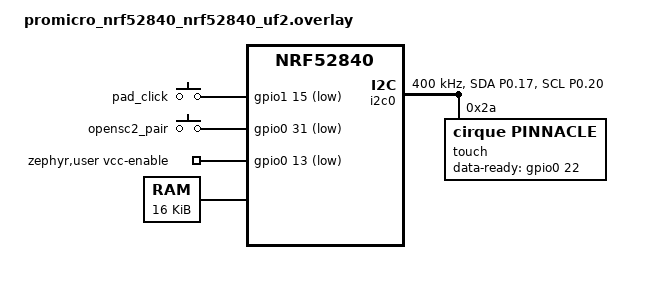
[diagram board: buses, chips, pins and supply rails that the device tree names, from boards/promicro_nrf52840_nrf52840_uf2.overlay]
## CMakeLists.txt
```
# Copyright (c) 2026 the OpenSC2-Controller authors
# SPDX-License-Identifier: MIT
cmake_minimum_required(VERSION 3.20.0)

# The OpenSC2 library is a Zephyr module: the OpenSC2-Controller repository. Inside the repository
# it is found here. In a copy of this folder elsewhere, set ZEPHYR_EXTRA_MODULES to your
# OpenSC2-Controller folder (environment variable, or -DZEPHYR_EXTRA_MODULES=<folder>), or list the
# repository in your west manifest (docs/integration.md).
if(EXISTS ${CMAKE_CURRENT_LIST_DIR}/../../zephyr/module.yml AND
   EXISTS ${CMAKE_CURRENT_LIST_DIR}/../../include/opensc2/opensc2.h)
  list(APPEND ZEPHYR_EXTRA_MODULES ${CMAKE_CURRENT_LIST_DIR}/../..)
endif()

find_package(Zephyr REQUIRED HINTS $ENV{ZEPHYR_BASE})
project(opensc2_touchpad LANGUAGES C)

target_sources(app PRIVATE src/main.c)
```

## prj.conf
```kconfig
# Copyright (c) 2026 the OpenSC2-Controller authors
# SPDX-License-Identifier: MIT
#
# A Cirque Pinnacle trackpad module as the right trackpad, wired or wireless.
# The SuperMini's own lines (its clock) are in boards/promicro_nrf52840_nrf52840_uf2.conf.

# The library. The puck sends packets of up to 128 bytes; the real controller keeps two replies
# queued.
CONFIG_OPENSC2=y
CONFIG_ESB_MAX_PAYLOAD_LENGTH=128
CONFIG_ESB_TX_FIFO_SIZE=2

# The touch module on I2C (Zephyr's cirque,pinnacle input driver) and the buttons (gpio-keys).
CONFIG_GPIO=y
CONFIG_I2C=y
CONFIG_INPUT=y

# Wired mode (the overlay chooses the HID node). The library runs the USB device, so the board's
# own serial port does not start at boot; in wireless mode the library shows it as the console.
# Eight report buffers, and room on the stacks for the vendor commands that write flash.
CONFIG_CDC_ACM_SERIAL_INITIALIZE_AT_BOOT=n
CONFIG_USBD_HID_IN_BUF_COUNT=8
CONFIG_USBD_THREAD_STACK_SIZE=2048
CONFIG_SYSTEM_WORKQUEUE_STACK_SIZE=2048

# Bonds survive a reboot in Zephyr settings, on NVS in the board's storage partition. Steam's
# pairing over the cable stores the bond and then reboots the board: without these it is lost.
CONFIG_FLASH=y
CONFIG_FLASH_MAP=y
CONFIG_NVS=y
CONFIG_SETTINGS=y
CONFIG_SETTINGS_NVS=y

# Log and shell on the USB serial port in wireless mode ("opensc2 status", "opensc2 state"). The
# shell prints the log, so the plain UART log output is off (it would print every line twice).
# While wired the log goes into the USB session log, and the log thread needs a bigger stack.
CONFIG_LOG=y
CONFIG_LOG_PROCESS_THREAD_STACK_SIZE=1536
CONFIG_SHELL=y
CONFIG_LOG_BACKEND_UART=n
CONFIG_SHELL_PROMPT_UART="opensc2:~$ "
CONFIG_MAIN_STACK_SIZE=2048
```

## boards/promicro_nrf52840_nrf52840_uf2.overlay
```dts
/*
 * Copyright (c) 2026 the OpenSC2-Controller authors
 * SPDX-License-Identifier: MIT
 *
 * SuperMini / Pro Micro nRF52840 with a Cirque Pinnacle trackpad module (for example the TM040040
 * or TM035035, on its I2C interface) as the controller's right trackpad. Zephyr's own
 * cirque,pinnacle driver reads it.
 *
 *   P0.17 SDA    P0.20 SCL    P0.22 the module's data-ready (HW_DR) output    VCC, GND
 *   P1.15 pad click button (to GND)    P0.31 pairing button (to GND)
 *
 * Any other touch device of Zephyr's input subsystem works the same way: point the `touch` label
 * at it and set its coordinate range in zephyr,user.
 */
#include <zephyr/dt-bindings/i2c/i2c.h>
#include <dt-bindings/opensc2/inputs.h>

/ {
	/* zephyr,code is the bit of the Steam Controller 2 button word (dt-bindings/opensc2/inputs.h);
	 * OPENSC2_KEY_PAIR marks the pairing button. */
	opensc2_buttons: opensc2_buttons {
		compatible = "gpio-keys";
		debounce-interval-ms = <5>;
		pad_click {
			gpios = <&gpio1 15 (GPIO_PULL_UP | GPIO_ACTIVE_LOW)>;
			zephyr,code = <OPENSC2_KEY_RIGHT_PAD_CLICK>;
		};
		/* Held while plugging in: this boot is wireless. Pressed and released while wired:
		 * back to wireless mode. Pressed while wireless: answers an open pairing window. */
		opensc2_pair: pair {
			gpios = <&gpio0 31 (GPIO_PULL_UP | GPIO_ACTIVE_LOW)>;
			zephyr,code = <OPENSC2_KEY_PAIR>;
		};
	};

	zephyr,user {
		/* The coordinate range the touch device reports (the Pinnacle is scaled to this). */
		trackpad-size = <1024 1024>;
		/* nice!nano-style boards switch VCC with P0.13 (low = on); check yours. */
		vcc-enable-gpios = <&gpio0 13 GPIO_ACTIVE_LOW>;
	};

	/* Wired mode: the USB HID function of the wired Steam Controller 2 (64-byte reports, 1 ms),
	 * and 16 KB of RAM that a soft reset keeps (the warm-restart mark, the USB session log), clear
	 * of the RAM the UF2 bootloader uses at every reset (docs/porting.md). */
	chosen {
		opensc2,usb-hid = &opensc2_hid;
		opensc2,retained-ram = &opensc2_retained;
	};

	opensc2_hid: opensc2_hid {
		compatible = "zephyr,hid-device";
		in-report-size = <64>;
		in-polling-period-us = <1000>;
		out-report-size = <64>;
		out-polling-period-us = <1000>;
	};

	opensc2_retained: memory@2002c000 {
		compatible = "zephyr,memory-region", "mmio-sram";
		reg = <0x2002c000 DT_SIZE_K(16)>;
		zephyr,memory-region = "OPENSC2_RETAINED";
	};
};

/* The application's RAM ends below the retained area (176 KB of the 256). */
&sram0 {
	reg = <0x20000000 DT_SIZE_K(176)>;
};

/* The board's first I2C bus, moved to P0.17 and P0.20. */
&pinctrl {
	i2c0_touch_default: i2c0_touch_default {
		group1 {
			psels = <NRF_PSEL(TWIM_SDA, 0, 17)>, <NRF_PSEL(TWIM_SCL, 0, 20)>;
		};
	};
	i2c0_touch_sleep: i2c0_touch_sleep {
		group1 {
			psels = <NRF_PSEL(TWIM_SDA, 0, 17)>, <NRF_PSEL(TWIM_SCL, 0, 20)>;
			low-power-enable;
		};
	};
};

&i2c0 {
	status = "okay";
	clock-frequency = <I2C_BITRATE_FAST>;
	pinctrl-0 = <&i2c0_touch_default>;
	pinctrl-1 = <&i2c0_touch_sleep>;
	pinctrl-names = "default", "sleep";

	touch: trackpad@2a {
		compatible = "cirque,pinnacle";
		reg = <0x2a>;
		/* HW_DR goes high when a new sample is ready; the driver reads on that edge. */
		data-ready-gpios = <&gpio0 22 GPIO_ACTIVE_HIGH>;
		data-mode = "absolute";
		/* One empty packet after the finger lifts, so the pad sees the release. */
		idle-packets-count = <1>;
		clipping-enable;
		scaling-enable;
		scaling-x-resolution = <1024>;
		scaling-y-resolution = <1024>;
	};
};

/* Not used here: the board's UART and its second I2C bus. The log and the shell are on the USB
 * serial port. */
&uart0 { status = "disabled"; };
&i2c1 { status = "disabled"; };
```

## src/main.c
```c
/*
 * Copyright (c) 2026 the OpenSC2-Controller authors
 * SPDX-License-Identifier: MIT
 *
 * A touch module as the right trackpad, wired or wireless. The touch device reports absolute X and
 * Y and either a touch key or a touch strength (Z) through Zephyr's input subsystem; on each
 * complete report the position is scaled to -32767..32767 (Y flipped: up is positive on the
 * controller) and handed to the library. A separate button is the pad's click. In Steam the right
 * pad then works as a trackpad: mouse, camera, or whatever its configuration says.
 * There is no power_request callback: the library does the reboots Steam asks for itself, and it
 * ignores Steam's request to enter a bootloader for a firmware update.
 */
#include <zephyr/kernel.h>
#include <zephyr/init.h>
#include <zephyr/drivers/gpio.h>
#include <zephyr/input/input.h>
#include <zephyr/logging/log.h>
#include <opensc2/opensc2.h>
#include <opensc2/trackpad.h>

LOG_MODULE_REGISTER(touchpad, LOG_LEVEL_INF);

#define USER DT_PATH(zephyr_user)

static const int32_t width = DT_PROP_BY_IDX(USER, trackpad_size, 0);
static const int32_t height = DT_PROP_BY_IDX(USER, trackpad_size, 1);
static const struct gpio_dt_spec vcc = GPIO_DT_SPEC_GET(USER, vcc_enable_gpios);

/* The module runs from the board's switched VCC, and its driver talks to it while Zephyr starts,
 * before main(). So VCC goes on first: GPIO is ready by then (PRE_KERNEL_1), and the touch driver
 * starts later in POST_KERNEL (CONFIG_INPUT_INIT_PRIORITY, 90). */
static int vcc_on(void)
{
	if (gpio_is_ready_dt(&vcc)) {
		gpio_pin_configure_dt(&vcc, GPIO_OUTPUT_ACTIVE);
		k_msleep(100);   /* a generous power-up time for the module */
	}
	return 0;
}
SYS_INIT(vcc_on, POST_KERNEL, 0);

/* ---- The pairing button: the same rules in every sample ------------------------------------- */

static const struct gpio_dt_spec pair_pin = GPIO_DT_SPEC_GET(DT_NODELABEL(opensc2_pair), gpios);
static bool pair_held_at_boot;   /* the press that chose wireless: ignored until it is released */
static bool pair_down;

/* Is the button held while the board starts? gpio-keys has already set the pin up with its
 * pull-up. Read twice, 5 ms apart: a bouncing contact counts as released. */
static bool pair_held(void)
{
	if (!gpio_is_ready_dt(&pair_pin) || gpio_pin_get_dt(&pair_pin) != 1) {
		return false;
	}
	k_msleep(5);
	return gpio_pin_get_dt(&pair_pin) == 1;
}

/* Wired: pressed and released, reboot into wireless mode (on the release, so that the button is
 * up again at the next boot). Wireless: pressed, answer a puck's open pairing window (untested
 * with Steam, which pairs controllers over the cable). */
static void pair_button(bool pressed)
{
	if (pair_held_at_boot) {
		pair_held_at_boot = pressed;   /* released: a normal button from now on */
		return;
	}
	if (opensc2_mode() == OPENSC2_MODE_WIRED) {
		if (pair_down && !pressed) {
			opensc2_reboot_later(OPENSC2_REBOOT_WIRELESS, "pair button", 0);
		}
	} else if (pressed) {
		opensc2_pair_start(0);   /* 0: the default window, 60 s */
	}
	pair_down = pressed;
}

/* ---- The trackpad ---------------------------------------------------------------------------- */

static void on_touch(struct input_event *evt, void *user_data)
{
	static int32_t x, y, z;
	static bool key_seen, key_down;
	struct opensc2_pad_frame f = { 0 };

	ARG_UNUSED(user_data);
	if (evt->type == INPUT_EV_ABS && evt->code == INPUT_ABS_X) {
		x = evt->value;
	} else if (evt->type == INPUT_EV_ABS && evt->code == INPUT_ABS_Y) {
		y = evt->value;
	} else if (evt->type == INPUT_EV_ABS && evt->code == INPUT_ABS_Z) {
		z = evt->value;   /* touch strength, 0 when nothing touches */
	} else if (evt->type == INPUT_EV_KEY && evt->code == INPUT_BTN_TOUCH) {
		key_seen = true;
		key_down = evt->value;
	}
	if (!evt->sync) {
		return;   /* wait for the whole report */
	}
	/* One trackpad frame: the touch and the position in millionths of the pad, counted from the
	 * top left as the real controller's pads count; the library processes it as the real
	 * controller processes its pads (the filter, the rotation, the stabiliser, Y turned up). No
	 * pressure word: the pad's pressure is 0 and its click is the button below. */
	f.touched = key_seen ? key_down : z > 0;
	f.x = (int32_t)((int64_t)x * 1000000 / width);
	f.y = (int32_t)((int64_t)y * 1000000 / height);
	(void)opensc2_pad_frame(OPENSC2_RIGHT, &f);
}
INPUT_CALLBACK_DEFINE(DEVICE_DT_GET(DT_NODELABEL(touch)), on_touch, NULL);

/* ---- Buttons: each key's code is the bit to set (the pad click is bit 22) -------------------- */

static void on_button(struct input_event *evt, void *user_data)
{
	ARG_UNUSED(user_data);
	if (evt->type != INPUT_EV_KEY) {
		return;
	}
	if (evt->code == OPENSC2_KEY_PAIR) {
		pair_button(evt->value != 0);
	} else if (evt->code < 32) {
		opensc2_set_buttons(BIT(evt->code), evt->value ? BIT(evt->code) : 0);
	}
}
INPUT_CALLBACK_DEFINE(DEVICE_DT_GET(DT_NODELABEL(opensc2_buttons)), on_button, NULL);

int main(void)
{
	struct opensc2_config config = { .start = true };
	int err;

	if (!device_is_ready(DEVICE_DT_GET(DT_NODELABEL(touch)))) {
		LOG_ERR("The touch module did not start: check its wiring and that it is set for I2C");
	}

	if (pair_held()) {
		pair_held_at_boot = true;
		config.boot_mode = OPENSC2_BOOT_WIRELESS;   /* held while plugging in: wireless */
	}
	err = opensc2_init(&config);
	if (err) {
		/* The console still starts (in wireless mode), so this can be read there. */
		LOG_ERR("opensc2_init failed (%d)", err);
	}
	return 0;
}
```
